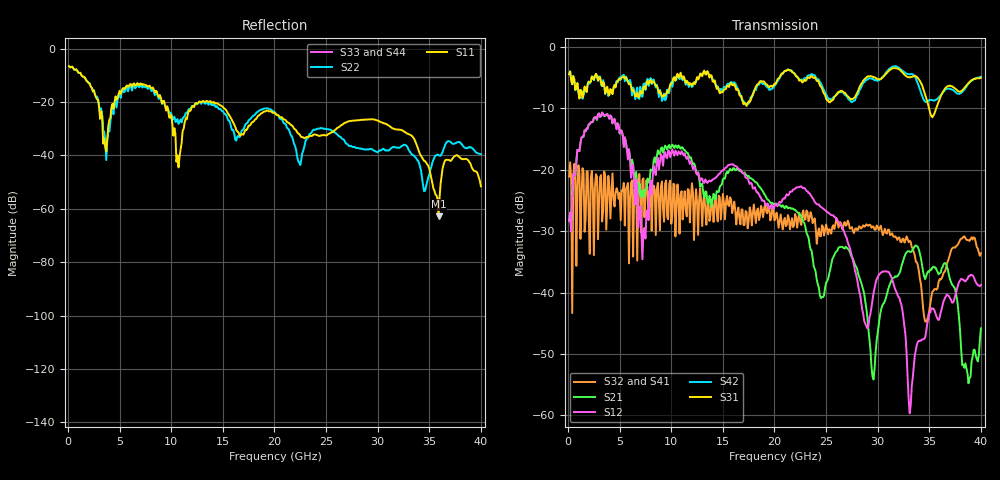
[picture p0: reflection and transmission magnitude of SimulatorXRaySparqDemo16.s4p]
# MHz MA S R 50.0
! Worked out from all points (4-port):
!   400 points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, 100 MHz to 40 GHz, reference 50 ohm
!   strongest paths, dB at 100 MHz, 10.1 GHz, 20.1 GHz, 30.1 GHz, 40 GHz:
!     S31: -4.4, -5.8, -6.0, -5.3, -5.0
!     S42: -4.4, -6.5, -6.1, -5.4, -4.9
!     S12: -28.3, -16.7, -25.5, -37.1, -38.7
!     S21: -28.3, -15.9, -25.6, -45.3, -45.8
!     S32: -21.1, -27.4, -27.8, -29.8, -33.6
!     S41: -21.1, -27.5, -27.8, -29.9, -33.6
!   lowest |S11| = -62.8 dB at 35.9 GHz (marker M1), VSWR 1.00, Z = 50.1 + j0.0344 ohm
!   |S11| at or under -10 dB: 1.286 GHz to end of sweep
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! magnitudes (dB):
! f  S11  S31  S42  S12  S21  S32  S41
! 100 MHz  -6.6  -4.4  -4.4  -28.3  -28.3  -21.1  -21.1
! 3.7 GHz  -38.6  -7.0  -6.7  -11.1  -11.1  -29.8  -29.8
! 6.7 GHz  -13.0  -7.5  -6.6  -23.1  -22.5  -34.8  -34.8
! 10.7 GHz  -44.5  -5.0  -4.8  -17.0  -16.1  -24.8  -24.8
! 29.7 GHz  -26.6  -4.9  -5.4  -39.2  -52.4  -29.7  -29.8
! 35.9 GHz  -62.8  -8.9  -8.2  -44.5  -37.0  -38.3  -38.4
! 40 GHz  -51.6  -5.0  -4.9  -38.7  -45.8  -33.6  -33.6
